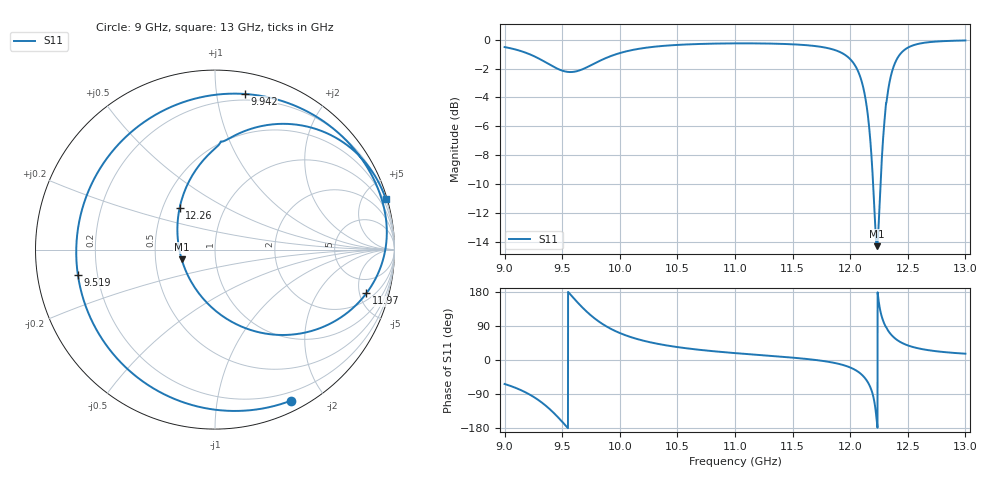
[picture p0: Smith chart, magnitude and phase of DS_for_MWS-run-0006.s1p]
! TOUCHSTONE file generated by CST DESIGN STUDIO
! Date and time: Tue Feb  4 13:41:06 2025
! Project name: C:\Work\MatlabApps\UnitCellOptimizationMatlab\CST\unitcell.cst
! Tree item: Tasks\Sweep1\SPara1\S-Parameters
! Header version: 2024
! Port assignment regex: !\s*Touchstone port\s*([0-9]+)\s*=\s*(CST MWS port|CST DES external port|CST DES block port)\s*(.+)\s* \(\"(.*)\"\)(\s*mode\s*([0-9]+))?.*
! Touchstone port assignment:
! Touchstone port 1 = CST DES external port 1 ("")
# GHz S MA R 50
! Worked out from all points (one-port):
!   4001 points, 9 GHz to 13 GHz, reference 50 ohm
!   lowest |S11| = -14.3 dB at 12.23 GHz (marker M1), VSWR 1.48, Z = 34.1 - j3.77 ohm
!   |S11| at or under -10 dB: 12.2 GHz to 12.26 GHz (63.87 MHz wide, 0.522 % of centre)
!   S11 on the Smith chart (normalised r, x): 9 GHz: 0.11, -1.62; 9.519 GHz: 0.13, -0.09; 9.942 GHz: 0.15, +1.20; 11.97 GHz: 2.74, -5.83; 12.26 GHz: 0.61, +0.31; 13 GHz: 0.17, +6.84
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9  0.942 -63.3
9.141  0.9127 -79.4
9.291  0.8623 -105.2
9.394  0.8184 -130.3
9.5  0.781 -163.0
9.519  0.777 -169.4
9.614  0.7754 158.2
9.73  0.8079 122.8
9.826  0.8443 99.8
9.942  0.8828 79.2
10  0.8981 71.2
10.216  0.9357 50.1
10.5  0.9583 34.1
11  0.9701 18.2
11.5  0.9629 6.2
11.968  0.8781 -16.1
12  0.8558 -19.7
12.084  0.7497 -34.4
12.152  0.553 -58.1
12.192  0.3558 -86.6
12.232  0.1934 -164.1
12.261  0.3041 130.4
12.302  0.548 91.8
12.345  0.724 70.8
12.415  0.8693 51.2
12.5  0.9375 38.5
12.677  0.9787 26.0
13  0.9928 16.6
